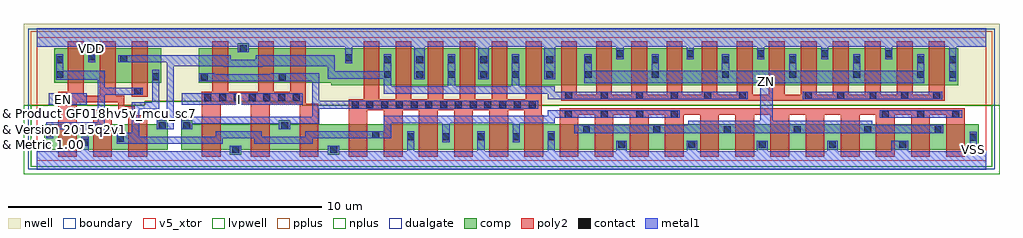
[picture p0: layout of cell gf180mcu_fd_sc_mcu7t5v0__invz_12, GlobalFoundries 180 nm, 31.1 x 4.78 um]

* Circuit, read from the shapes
.subckt gf180mcu_fd_sc_mcu7t5v0__invz_12 EN I VDD VSS ZN
XM1 VSS EN n1 VSUBS nfet_05v0 w=0.82u l=0.6u
XM2 n2 n1 VSS VSUBS nfet_05v0 w=0.82u l=0.6u
XM3 n3 EN n2 VSUBS nfet_05v0 w=0.82u l=0.6u
XM4 VSS I n4 VSUBS nfet_05v0 w=0.82u l=0.6u m=3
XM5 n2 n4 VSS VSUBS nfet_05v0 w=0.82u l=0.6u m=6
XM6 ZN n2 VSS VSUBS nfet_05v0 w=0.82u l=0.6u m=12
XM7 VDD EN n1 n5 pfet_05v0 w=1.095u l=0.5u
XM8 n3 EN VDD n5 pfet_05v0 w=1.095u l=0.5u
XM9 n2 n1 n3 n5 pfet_05v0 w=1.095u l=0.5u
XM10 VDD I n4 n5 pfet_05v0 w=1.095u l=0.5u m=3
XM11 n3 n4 VDD n5 pfet_05v0 w=1.18u l=0.5u m=6
XM12 ZN n3 VDD n5 pfet_05v0 w=1.18u l=0.5u m=12
.ends

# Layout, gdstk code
import gdstk
lib = gdstk.Library(unit=1e-6, precision=1e-09)
def R(c, l, rs):  # rectangles x0, y0, x1, y1
    for r in rs: c.add(gdstk.rectangle(r[:2], r[2:], *l))
def A(c, l, x, y, w, h, nx, ny, dx, dy):  # array of equal rectangles
    R(c, l, [(x+i*dx, y+j*dy, x+i*dx+w, y+j*dy+h) for i in range(nx) for j in range(ny)])
def P(c, l, *ps):  # polygons
    for p in ps: c.add(gdstk.Polygon(p, *l))
boundary = (0, 0)
nwell = (21, 0)
comp = (22, 0)
poly2 = (30, 0)
pplus = (31, 0)
nplus = (32, 0)
contact = (33, 0)
metal1 = (34, 0)
dualgate = (55, 0)
v5_xtor = (112, 1)
lvpwell = (204, 0)

gf180mcu_fd_sc_mcu7t5v0_ = lib.new_cell('gf180mcu_fd_sc_mcu7t5v0__invz_12')
R(gf180mcu_fd_sc_mcu7t5v0_, boundary, [(0,0,30.24,3.92)])
P(gf180mcu_fd_sc_mcu7t5v0_, nwell, [(-0.43,1.76),(-0.43,4.35),(30.67,4.35),(30.67,1.76),(8.44,1.76),(8.44,1.885),(3.44,1.885),(3.44,1.76)])
R(gf180mcu_fd_sc_mcu7t5v0_, comp, [(0.545,2.485,3.965,3.58)])
P(gf180mcu_fd_sc_mcu7t5v0_, comp, [(0.23,0.34),(0.23,1.16),(3.81,1.16),(3.81,1.285),(4.17,1.285),(4.17,0.34)],
  [(9.37,2.4),(9.37,2.485),(5.15,2.485),(5.15,3.58),(6.39,3.58),(6.39,3.74),(6.75,3.74),(6.75,3.58),(29.36,3.58),(29.36,2.4)],
  [(6.15,0.18),(6.15,0.34),(4.59,0.34),(4.59,1.285),(4.95,1.285),(4.95,1.16),(7.71,1.16),(7.71,1.285),(8.07,1.285),(8.07,1.16),(30.01,1.16),(30.01,0.34),(9.63,0.34),(9.63,0.18),(9.27,0.18),(9.27,0.34),(6.51,0.34),(6.51,0.18)])
R(gf180mcu_fd_sc_mcu7t5v0_, poly2, [(3.025,2.025,3.525,3.8)])
P(gf180mcu_fd_sc_mcu7t5v0_, poly2, [(1.79,0.12),(1.79,1.62),(2.285,1.62),(2.285,1.38),(2.39,1.38),(2.39,0.12)],
  [(0.67,0.12),(0.67,2.185),(0.985,2.185),(0.985,3.8),(1.485,3.8),(1.485,2.06),(2.005,2.06),(2.005,3.8),(2.505,3.8),(2.505,2.06),(2.785,2.06),(2.785,1.725),(3.11,1.725),(3.11,1.44),(3.51,1.44),(3.51,0.12),(2.91,0.12),(2.91,1.525),(2.585,1.525),(2.585,1.86),(1.27,1.86),(1.27,0.12)],
  [(5.25,0.12),(5.25,2.185),(5.59,2.185),(5.59,3.8),(6.09,3.8),(6.09,2.185),(7.05,2.185),(7.05,3.8),(7.55,3.8),(7.55,2.185),(8.07,2.185),(8.07,3.8),(8.57,3.8),(8.57,1.815),(8.97,1.815),(8.97,0.12),(8.37,0.12),(8.37,1.825),(7.41,1.825),(7.41,0.12),(6.81,0.12),(6.81,1.825),(5.85,1.825),(5.85,0.12)],
  [(9.93,0.12),(9.93,1.955),(10.41,1.955),(10.41,3.8),(10.91,3.8),(10.91,1.955),(11.43,1.955),(11.43,3.8),(11.93,3.8),(11.93,1.955),(12.45,1.955),(12.45,3.8),(12.95,3.8),(12.95,1.955),(13.47,1.955),(13.47,3.8),(13.97,3.8),(13.97,1.955),(14.49,1.955),(14.49,3.8),(14.99,3.8),(14.99,1.955),(15.58,1.955),(15.58,3.8),(16.08,3.8),(16.08,1.435),(16.13,1.435),(16.13,0.12),(15.53,0.12),(15.53,1.595),(15.01,1.595),(15.01,0.12),(14.41,0.12),(14.41,1.595),(13.89,1.595),(13.89,0.12),(13.29,0.12),(13.29,1.595),(12.77,1.595),(12.77,0.12),(12.17,0.12),(12.17,1.595),(11.65,1.595),(11.65,0.12),(11.05,0.12),(11.05,1.595),(10.53,1.595),(10.53,0.12)],
  [(16.7,1.9),(16.7,3.8),(17.2,3.8),(17.2,2.1),(17.82,2.1),(17.82,3.8),(18.32,3.8),(18.32,2.1),(18.94,2.1),(18.94,3.8),(19.44,3.8),(19.44,2.1),(20.06,2.1),(20.06,3.8),(20.56,3.8),(20.56,2.1),(21.18,2.1),(21.18,3.8),(21.68,3.8),(21.68,2.1),(22.3,2.1),(22.3,3.8),(22.8,3.8),(22.8,2.1),(23.32,2.1),(23.32,3.8),(23.82,3.8),(23.82,2.1),(24.34,2.1),(24.34,3.8),(24.84,3.8),(24.84,2.1),(25.36,2.1),(25.36,3.8),(25.86,3.8),(25.86,2.1),(26.38,2.1),(26.38,3.8),(26.88,3.8),(26.88,2.1),(27.4,2.1),(27.4,3.8),(27.9,3.8),(27.9,2.1),(28.42,2.1),(28.42,3.8),(28.92,3.8),(28.92,1.9)],
  [(16.65,0.12),(16.65,1.66),(29.57,1.66),(29.57,0.12),(28.97,0.12),(28.97,1.46),(28.45,1.46),(28.45,0.12),(27.85,0.12),(27.85,1.46),(27.33,1.46),(27.33,0.12),(26.73,0.12),(26.73,1.46),(26.21,1.46),(26.21,0.12),(25.61,0.12),(25.61,1.46),(25.09,1.46),(25.09,0.12),(24.49,0.12),(24.49,1.46),(23.97,1.46),(23.97,0.12),(23.37,0.12),(23.37,1.46),(22.85,1.46),(22.85,0.12),(22.25,0.12),(22.25,1.46),(21.73,1.46),(21.73,0.12),(21.13,0.12),(21.13,1.46),(20.61,1.46),(20.61,0.12),(20.01,0.12),(20.01,1.46),(19.49,1.46),(19.49,0.12),(18.89,0.12),(18.89,1.46),(18.37,1.46),(18.37,0.12),(17.77,0.12),(17.77,1.46),(17.25,1.46),(17.25,0.12)])
P(gf180mcu_fd_sc_mcu7t5v0_, pplus, [(-0.2,1.76),(-0.2,4.12),(30.44,4.12),(30.44,1.76),(8.44,1.76),(8.44,1.885),(3.44,1.885),(3.44,1.76)])
P(gf180mcu_fd_sc_mcu7t5v0_, nplus, [(-0.2,-0.2),(-0.2,1.76),(3.44,1.76),(3.44,1.885),(8.44,1.885),(8.44,1.76),(30.44,1.76),(30.44,-0.2)])
A(gf180mcu_fd_sc_mcu7t5v0_, contact, 18.52, 0.41, 0.22, 0.22, 5, 1, 2.24, 0)
A(gf180mcu_fd_sc_mcu7t5v0_, contact, 11.8, 0.65, 0.22, 0.22, 5, 1, 1.12, 0)
A(gf180mcu_fd_sc_mcu7t5v0_, contact, 17.4, 0.87, 0.22, 0.22, 6, 1, 2.24, 0)
A(gf180mcu_fd_sc_mcu7t5v0_, contact, 10.025, 1.665, 0.22, 0.22, 13, 1, 0.47, 0)
A(gf180mcu_fd_sc_mcu7t5v0_, contact, 5.335, 1.895, 0.22, 0.22, 7, 1, 0.47, 0)
A(gf180mcu_fd_sc_mcu7t5v0_, contact, 26.53, 1.97, 0.22, 0.22, 3, 1, 1.015, 0)
A(gf180mcu_fd_sc_mcu7t5v0_, contact, 11.06, 2.63, 0.22, 0.22, 5, 2, 1.02, 0.47)
A(gf180mcu_fd_sc_mcu7t5v0_, contact, 23.97, 2.63, 0.22, 0.22, 3, 2, 2.04, 0.47)
A(gf180mcu_fd_sc_mcu7t5v0_, contact, 18.47, 3.29, 0.22, 0.22, 3, 1, 2.24, 0)
R(gf180mcu_fd_sc_mcu7t5v0_, contact, [(6.22,0.25,6.44,0.47), (9.34,0.25,9.56,0.47), (1.42,0.47,1.64,0.69), (2.54,0.605,2.76,0.825), (29.72,0.635,29.94,0.855), (10.68,0.71,10.9,0.93), (0.3,0.775,0.52,0.995), (3.88,0.995,4.1,1.215), (4.66,0.995,4.88,1.215), (7.78,0.995,8,1.215), (1.94,1.33,2.16,1.55), (16.815,1.37,17.035,1.59), (17.96,1.37,18.18,1.59), (19.1,1.37,19.32,1.59), (20.195,1.37,20.415,1.59), (26.92,1.37,27.14,1.59), (28.045,1.37,28.265,1.59), (29.16,1.37,29.38,1.59), (0.795,1.895,1.015,2.115), (16.835,1.97,17.055,2.19), (17.96,1.97,18.18,2.19), (19.09,1.97,19.31,2.19), (20.2,1.97,20.42,2.19), (21.26,1.97,21.48,2.19), (22.37,1.97,22.59,2.19), (24.465,1.97,24.685,2.19), (25.5,1.97,25.72,2.19), (3.095,2.095,3.315,2.315), (3.675,2.555,3.895,2.775), (5.22,2.555,5.44,2.775), (7.7,2.555,7.92,2.775), (0.615,2.63,0.835,2.85), (16.23,2.63,16.45,2.85), (17.45,2.63,17.67,2.85), (19.59,2.63,19.81,2.85), (21.83,2.63,22.05,2.85), (29.07,2.63,29.29,2.85), (0.615,3.1,0.835,3.32), (16.23,3.1,16.45,3.32), (17.45,3.1,17.67,3.32), (19.59,3.1,19.81,3.32), (21.83,3.1,22.05,3.32), (29.07,3.1,29.29,3.32), (2.655,3.13,2.875,3.35), (9.82,3.16,10.04,3.38), (1.635,3.19,1.855,3.41), (24.99,3.29,25.21,3.51), (27.03,3.29,27.25,3.51), (6.46,3.45,6.68,3.67)])
R(gf180mcu_fd_sc_mcu7t5v0_, metal1, [(26.86,1.365,29.485,1.595), (0.37,1.77,1.59,2.15), (4.615,1.77,8.475,2.15), (24.405,1.96,28.84,2.195)])
P(gf180mcu_fd_sc_mcu7t5v0_, metal1, [(0.295,0.715),(0.295,1.225),(1.935,1.225),(1.935,2.57),(0.61,2.57),(0.61,3.38),(0.84,3.38),(0.84,2.865),(2.165,2.865),(2.165,2.32),(3.375,2.32),(3.375,2.09),(2.165,2.09),(2.165,0.99),(0.525,0.99),(0.525,0.715)],
  [(4.59,0.99),(4.59,1.395),(8.77,1.395),(8.77,2.525),(5.15,2.525),(5.15,2.78),(5.665,2.78),(5.665,2.755),(7.43,2.755),(7.43,2.78),(9,2.78),(9,1.9),(15.965,1.9),(15.965,1.65),(9,1.65),(9,1.165),(8.07,1.165),(8.07,0.99),(7.71,0.99),(7.71,1.165),(4.95,1.165),(4.95,0.99)],
  [(2.535,0.53),(2.535,0.885),(3.025,0.885),(3.025,1.86),(3.67,1.86),(3.67,2.89),(3.9,2.89),(3.9,1.63),(3.255,1.63),(3.255,0.76),(5.69,0.76),(5.69,0.935),(7.155,0.935),(7.155,0.76),(8.555,0.76),(8.555,0.935),(11.055,0.935),(11.055,1.42),(16.275,1.42),(16.275,1.595),(20.475,1.595),(20.475,1.365),(16.505,1.365),(16.505,1.19),(15.385,1.19),(15.385,0.58),(15.155,0.58),(15.155,1.19),(13.145,1.19),(13.145,0.58),(12.915,0.58),(12.915,1.19),(11.285,1.19),(11.285,0.705),(8.785,0.705),(8.785,0.53),(6.925,0.53),(6.925,0.705),(5.92,0.705),(5.92,0.53)],
  [(3.81,0.99),(3.81,1.4),(4.13,1.4),(4.13,3.125),(2.595,3.125),(2.595,3.355),(6.17,3.355),(6.17,3.215),(6.97,3.215),(6.97,3.355),(9.49,3.355),(9.49,2.84),(11.055,2.84),(11.055,3.38),(11.285,3.38),(11.285,2.36),(13.095,2.36),(13.095,3.38),(13.325,3.38),(13.325,2.36),(15.135,2.36),(15.135,3.38),(15.365,3.38),(15.365,2.36),(16.505,2.36),(16.505,2.195),(22.65,2.195),(22.65,1.96),(16.275,1.96),(16.275,2.13),(11.055,2.13),(11.055,2.61),(9.26,2.61),(9.26,3.01),(7.2,3.01),(7.2,2.985),(5.94,2.985),(5.94,3.01),(4.36,3.01),(4.36,0.99)],
  [(17.12,0.865),(17.12,1.135),(20.75,1.135),(20.75,1.265),(23.04,1.265),(23.04,2.46),(17.445,2.46),(17.445,3.38),(17.675,3.38),(17.675,2.86),(19.585,2.86),(19.585,3.38),(19.815,3.38),(19.815,2.86),(21.825,2.86),(21.825,3.38),(22.055,3.38),(22.055,2.86),(23.965,2.86),(23.965,3.38),(24.195,3.38),(24.195,2.86),(26.005,2.86),(26.005,3.38),(26.235,3.38),(26.235,2.86),(28.045,2.86),(28.045,3.38),(28.28,3.38),(28.28,2.46),(23.44,2.46),(23.44,1.265),(26.61,1.265),(26.61,1.135),(28.88,1.135),(28.88,0.865)],
  [(0,-0.3),(0,0.3),(1.415,0.3),(1.415,0.76),(1.645,0.76),(1.645,0.3),(6.15,0.3),(6.15,0.475),(6.51,0.475),(6.51,0.3),(9.27,0.3),(9.27,0.475),(9.63,0.475),(9.63,0.3),(11.795,0.3),(11.795,0.93),(12.025,0.93),(12.025,0.3),(14.035,0.3),(14.035,0.93),(14.265,0.93),(14.265,0.3),(16.275,0.3),(16.275,0.93),(16.505,0.93),(16.505,0.3),(18.46,0.3),(18.46,0.635),(18.8,0.635),(18.8,0.3),(20.7,0.3),(20.7,0.635),(21.04,0.635),(21.04,0.3),(22.94,0.3),(22.94,0.635),(23.28,0.635),(23.28,0.3),(25.18,0.3),(25.18,0.635),(25.52,0.635),(25.52,0.3),(27.225,0.3),(27.225,0.635),(27.76,0.635),(27.76,0.3),(29.715,0.3),(29.715,0.915),(29.945,0.915),(29.945,0.3),(30.24,0.3),(30.24,-0.3)],
  [(29.065,2.53),(29.065,3.62),(27.255,3.62),(27.255,3.23),(27.025,3.23),(27.025,3.62),(25.215,3.62),(25.215,3.23),(24.985,3.23),(24.985,3.62),(23.175,3.62),(23.175,3.23),(22.945,3.23),(22.945,3.62),(20.935,3.62),(20.935,3.23),(20.705,3.23),(20.705,3.62),(18.695,3.62),(18.695,3.23),(18.465,3.23),(18.465,3.62),(16.51,3.62),(16.51,2.59),(16.17,2.59),(16.17,3.62),(14.4,3.62),(14.4,2.59),(14.06,2.59),(14.06,3.62),(12.36,3.62),(12.36,2.59),(12.02,2.59),(12.02,3.62),(10.045,3.62),(10.045,3.1),(9.815,3.1),(9.815,3.62),(6.74,3.62),(6.74,3.445),(6.4,3.445),(6.4,3.62),(1.86,3.62),(1.86,3.13),(1.63,3.13),(1.63,3.62),(0,3.62),(0,4.22),(30.24,4.22),(30.24,3.62),(29.295,3.62),(29.295,2.53)])
R(gf180mcu_fd_sc_mcu7t5v0_, dualgate, [(-0.28,-0.28,30.52,4.2)])
R(gf180mcu_fd_sc_mcu7t5v0_, v5_xtor, [(0,0,30.24,3.92)])
P(gf180mcu_fd_sc_mcu7t5v0_, lvpwell, [(-0.43,-0.43),(-0.43,1.76),(3.44,1.76),(3.44,1.885),(8.44,1.885),(8.44,1.76),(30.67,1.76),(30.67,-0.43)])
gf180mcu_fd_sc_mcu7t5v0_.add(gdstk.Label('VDD', (1.745,3.57), layer=34, texttype=10))
gf180mcu_fd_sc_mcu7t5v0_.add(gdstk.Label('VSS', (29.83,0.35), layer=34, texttype=10))
gf180mcu_fd_sc_mcu7t5v0_.add(gdstk.Label('ZN', (23.24,2.52), layer=34, texttype=10))
gf180mcu_fd_sc_mcu7t5v0_.add(gdstk.Label('EN', (0.84,1.96), layer=34, texttype=10))
gf180mcu_fd_sc_mcu7t5v0_.add(gdstk.Label('I', (6.44,1.96), layer=34, texttype=10))
gf180mcu_fd_sc_mcu7t5v0_.add(gdstk.Label('& Vendor GLOBALFOUNDRIES', (0,2), layer=63, texttype=63))
gf180mcu_fd_sc_mcu7t5v0_.add(gdstk.Label('& Product GF018hv5v_mcu_sc7', (0,1.5), layer=63, texttype=63))
gf180mcu_fd_sc_mcu7t5v0_.add(gdstk.Label('& Version 2015q2v1', (0,1), layer=63, texttype=63))
gf180mcu_fd_sc_mcu7t5v0_.add(gdstk.Label('& Metric 1.00', (0,0.5), layer=63, texttype=63))

lib.write_gds('gf180mcu_fd_sc_mcu7t5v0__invz_12.gds')
